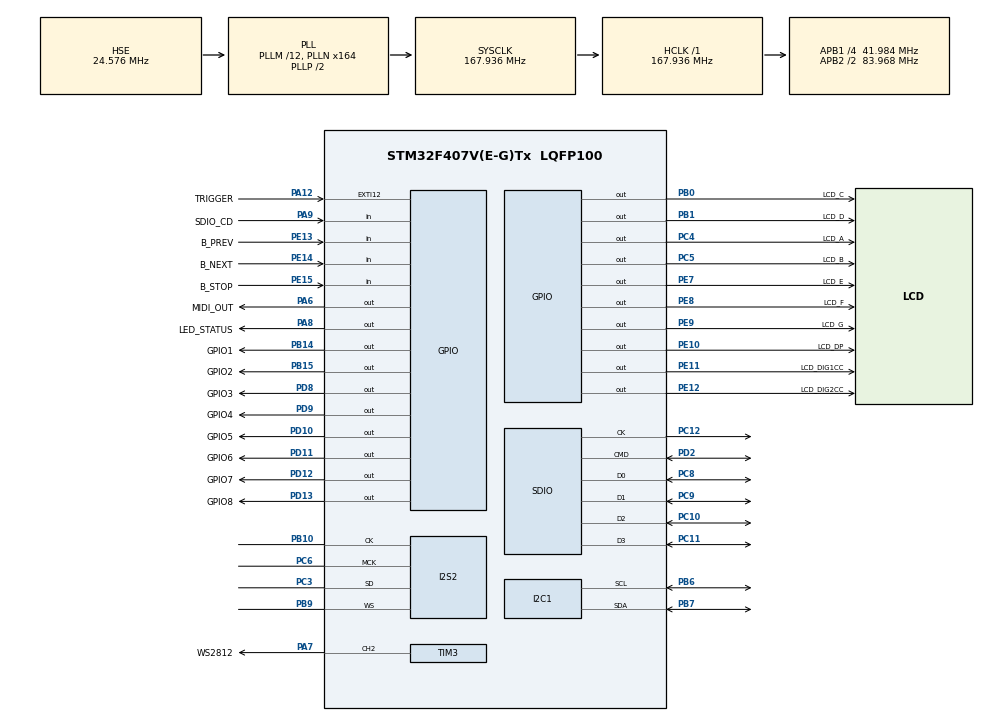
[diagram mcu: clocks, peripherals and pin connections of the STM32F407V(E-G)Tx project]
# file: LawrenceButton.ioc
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Mcu.Family=STM32F4
PC3.Mode=Half_Duplex_Master
PD12.GPIO_Label=GPIO7
Dma.SPI2_TX.0.MemInc=DMA_MINC_ENABLE
PH0-OSC_IN.Signal=RCC_OSC_IN
RCC.CortexFreq_Value=167936000
FATFS0.BSP.api=Unknown
PB10.Mode=Half_Duplex_Master
VP_FATFS_VS_SDIO.Mode=SDIO
Dma.TIM3_CH2.1.Mode=DMA_CIRCULAR
PE11.GPIO_Label=LCD_DIG1CC
PC10.Signal=SDIO_D2
PC12.Signal=SDIO_CK
PB14.GPIO_Label=GPIO1
Dma.TIM3_CH2.1.MemDataAlignment=DMA_MDATAALIGN_WORD
PB0.GPIO_Label=LCD_C
PA6.GPIO_Label=MIDI_OUT
NVIC.DMA1_Stream4_IRQn=true\:1\:0\:true\:false\:true\:false\:true
PB15.Signal=GPIO_Output
Dma.SPI2_TX.0.Instance=DMA1_Stream4
RCC.SYSCLKSource=RCC_SYSCLKSOURCE_PLLCLK
ProjectManager.StackSize=0x400
Dma.SPI2_TX.0.MemDataAlignment=DMA_MDATAALIGN_HALFWORD
Dma.TIM3_CH2.1.PeriphInc=DMA_PINC_DISABLE
PD13.Signal=GPIO_Output
PA12.Signal=GPXTI12
Dma.TIM3_CH2.1.Priority=DMA_PRIORITY_LOW
PD11.GPIO_Label=GPIO6
RCC.HCLKFreq_Value=167936000
RCC.APB2TimFreq_Value=167936000
TIM3.Period=104
PB6.Signal=I2C1_SCL
Dma.TIM3_CH2.1.PeriphDataAlignment=DMA_PDATAALIGN_WORD
PB6.Mode=I2C
PC3.Signal=I2S2_SD
PD8.Signal=GPIO_Output
Dma.SPI2_TX.0.Mode=DMA_CIRCULAR
RCC.AHBFreq_Value=167936000
PH0-OSC_IN.Mode=HSE-External-Oscillator
FATFS0.BSP.ip=GPIO
NVIC.EXTI15_10_IRQn=true\:1\:0\:true\:false\:true\:true\:true
RCC.HSE_VALUE=24576000
PB3.Mode=Trace_Asynchronous_SW
FATFS0.BSP.i2caddr=0
PE13.GPIO_PuPd=GPIO_PULLUP
PE13.Signal=GPIO_Input
Dma.TIM3_CH2.1.MemInc=DMA_MINC_ENABLE
PC4.GPIO_Label=LCD_A
PE9.Signal=GPIO_Output
PA14.Mode=Trace_Asynchronous_SW
TIM3.Prescaler=0
PB1.GPIO_Label=LCD_D
NVIC.TIM2_IRQn=true\:1\:0\:true\:false\:true\:true\:true
PC9.Mode=SD_4_bits_Wide_bus
PB7.Signal=I2C1_SDA
PA8.Signal=GPIO_Output
I2S2.DataFormat=I2S_DATAFORMAT_16B
TIM4.Period=41983
PE10.Signal=GPIO_Output
TIM3.OCPolarity_2=TIM_OCPOLARITY_LOW
PH1-OSC_OUT.Mode=HSE-External-Oscillator
PD13.GPIO_Label=GPIO8
Mcu.Package=LQFP100
PB9.Signal=I2S2_WS
TIM2.Prescaler=0
PB1.Signal=GPIO_Output
PA6.Signal=GPIO_Output
PD12.Signal=GPIO_Output
FATFS0.BSP.solution=PA9
Dma.TIM3_CH2.1.FIFOMode=DMA_FIFOMODE_DISABLE
PE12.GPIO_Label=LCD_DIG2CC
PC11.Mode=SD_4_bits_Wide_bus
Dma.TIM3_CH2.1.Instance=DMA1_Stream5
Dma.SPI2_TX.0.PeriphInc=DMA_PINC_DISABLE
FATFS._FS_LOCK=0
RCC.APB2CLKDivider=RCC_HCLK_DIV2
Dma.Request1=TIM3_CH2
RCC.APB1TimFreq_Value=83968000
PC5.Signal=GPIO_Output
PE7.Signal=GPIO_Output
PA12.GPIO_PuPd=GPIO_PULLUP
PE10.GPIO_Label=LCD_DP
Dma.Request0=SPI2_TX
VP_TIM3_VS_ClockSourceINT.Mode=Internal
RCC.PLLSourceVirtual=RCC_PLLSOURCE_HSE
FATFS0.BSP.STBoard=false
I2S2.AudioFreq=I2S_AUDIOFREQ_48K
I2S2.Instance=SPI$Index
PD9.GPIO_Label=GPIO4
TIM3.AutoReloadPreload=TIM_AUTORELOAD_PRELOAD_ENABLE
PC11.Signal=SDIO_D3
PA9.GPIO_Label=SDIO_CD
FATFS0.BSP.mode=Input
PC8.Signal=SDIO_D0
Dma.TIM3_CH2.1.Direction=DMA_MEMORY_TO_PERIPH
PC4.Signal=GPIO_Output
PC6.Signal=I2S2_MCK
PC10.Mode=SD_4_bits_Wide_bus
PE14.GPIO_Label=B_NEXT
PD9.Signal=GPIO_Output
RCC.APB1CLKDivider=RCC_HCLK_DIV4
PA12.GPIO_Label=TRIGGER
PD8.GPIO_Label=GPIO3
SDIO.ClockBypass=SDIO_CLOCK_BYPASS_DISABLE
FATFS0.BSP.instance=PA9
PD10.Signal=GPIO_Output
PA13.Signal=SYS_JTMS-SWDIO
PA8.GPIO_Label=LED_STATUS
PE15.GPIO_Label=B_STOP
ProjectManager.TargetToolchain=STM32CubeIDE
NVIC.DMA1_Stream5_IRQn=true\:1\:0\:true\:false\:true\:false\:true
PC6.Mode=Master_Clock_Activated
PE8.GPIO_Label=LCD_F
PB9.Mode=Half_Duplex_Master
PA9.Signal=GPIO_Input
I2S2.VirtualMode=I2S_MODE_MASTER
SDIO.ClockDiv=4
PD10.GPIO_Label=GPIO5
TIM4.Prescaler=79
PE11.Signal=GPIO_Output
RCC.LSE_VALUE=32768
PE9.GPIO_Label=LCD_G
PA7.GPIO_PuPd=GPIO_PULLDOWN
PB10.Signal=I2S2_CK
PB14.Signal=GPIO_Output
PD2.Mode=SD_4_bits_Wide_bus
FATFS.BSP.number=1
SH.S_TIM3_CH2.0=TIM3_CH2,PWM Generation2 CH2
PC12.Mode=SD_4_bits_Wide_bus
board=custom
RCC.VCOOutputFreq_Value=335872000
PA7.GPIO_Speed=GPIO_SPEED_FREQ_HIGH
RCC.APB2Freq_Value=83968000
PE14.Signal=GPIO_Input
PE15.Signal=GPIO_Input
PB15.GPIO_Label=GPIO2
VP_TIM2_VS_ClockSourceINT.Mode=Internal
PE8.Signal=GPIO_Output
Dma.SPI2_TX.0.PeriphDataAlignment=DMA_PDATAALIGN_HALFWORD
PH1-OSC_OUT.Signal=RCC_OSC_OUT
PE14.GPIO_PuPd=GPIO_PULLUP
TIM2.Period=83968
PA13.Mode=Trace_Asynchronous_SW
Mcu.Name=STM32F407V(E-G)Tx
PE7.GPIO_Label=LCD_E
Dma.SPI2_TX.0.FIFOMode=DMA_FIFOMODE_DISABLE
PE12.Signal=GPIO_Output
I2S2.FullDuplexMode=I2S_FULLDUPLEXMODE_DISABLE
PC8.Mode=SD_4_bits_Wide_bus
RCC.48MHZClocksFreq_Value=47981714.28571428
PB3.Signal=SYS_JTDO-SWO
Dma.SPI2_TX.0.Priority=DMA_PRIORITY_VERY_HIGH
RCC.SYSCLKFreq_VALUE=167936000
PA7.GPIO_Label=WS2812
PE13.GPIO_Label=B_PREV
I2S2.ErrorAudioFreq=0.0 %
PC5.GPIO_Label=LCD_B
PD11.Signal=GPIO_Output
PB7.Mode=I2C
PA14.Signal=SYS_JTCK-SWCLK
PE15.GPIO_PuPd=GPIO_PULLUP
ProjectManager.HeapSize=0x200
RCC.HSI_VALUE=16000000
VP_TIM4_VS_ClockSourceINT.Mode=Internal
RCC.PLLQ=7
NVIC.PriorityGroup=NVIC_PRIORITYGROUP_4
TIM3.Channel-PWM\ Generation2\ CH2=TIM_CHANNEL_2
RCC.PLLM=12
RCC.PLLN=164
PC9.Signal=SDIO_D1
PD2.Signal=SDIO_CMD
Dma.SPI2_TX.0.Direction=DMA_MEMORY_TO_PERIPH
NVIC.TIM4_IRQn=true\:1\:0\:true\:false\:true\:true\:true
RCC.APB1Freq_Value=41984000
RCC.PLLI2SR=5
PB0.Signal=GPIO_Output
I2S2.RealAudioFreq=48.0 KHz
RCC.PLLI2SN=120
FATFS0.BSP.name=Detect_SDIO
PB0.GPIO_PuPd=GPIO_NOPULL
TIM3.OCMode_PWM-PWM\ Generation2\ CH2=TIM_OCMODE_PWM2
PA7.Signal=S_TIM3_CH2

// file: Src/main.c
/* USER CODE BEGIN Header */
/**
  ******************************************************************************
  * @file           : main.c
  * @brief          : Main program body
  ******************************************************************************
  *
  * Main code for Lawrence's "big button" - low-latency sample playback with
  * WS2812b flex LED panel light.
  *
  * Contact Max Hunter for queries or hardware!
  *
  ******************************************************************************
  */
/* USER CODE END Header */

#include "main.h"
#include "fatfs.h"

/* USER CODE BEGIN Includes */
#include "string.h"
#include "stdio.h"

/* USER CODE END Includes */

/* USER CODE BEGIN PTD */

typedef struct GPIOPin_TypeDef
{
	GPIO_TypeDef *port;
	uint16_t *pin;
} GPIOPin_TypeDef;

/* USER CODE END PTD */

/* USER CODE BEGIN PD */

#define LED_NUM_PIXELS 256

#define AUDIO_BUFFER_SIZE 4096
#define LED_COLOUR_BUFFER_SIZE 1024

#define LED_ZERO 28 // HIGH signal of 350ns, then 900ns LOW
#define LED_ONE 76  // HIGH signal of 950ns, then 300ns LOW

#define LED_BYTES (LED_NUM_PIXELS * 8 * 3)
#define LED_NULL_BYTES 500
#define LED_FRAMEBUFFER_SIZE (LED_BYTES + LED_NULL_BYTES)

/* USER CODE END PD */

/* USER CODE BEGIN PM */

#define GRB_WORD(R, G, B) (((G) << 16) | ((R) << 8) | (B))

/* USER CODE END PM */

I2C_HandleTypeDef hi2c1;

I2S_HandleTypeDef hi2s2;
DMA_HandleTypeDef hdma_spi2_tx;

SD_HandleTypeDef hsd;

TIM_HandleTypeDef htim2;
TIM_HandleTypeDef htim3;
TIM_HandleTypeDef htim4;
DMA_HandleTypeDef hdma_tim3_ch2;

/* USER CODE BEGIN PV */

static GPIOPin_TypeDef LCDs[7] = {
	{LCD_A_GPIO_Port, LCD_A_Pin},
	{LCD_B_GPIO_Port, LCD_B_Pin},
	{LCD_C_GPIO_Port, LCD_C_Pin},
	{LCD_D_GPIO_Port, LCD_D_Pin},
	{LCD_E_GPIO_Port, LCD_E_Pin},
	{LCD_F_GPIO_Port, LCD_F_Pin},
	{LCD_G_GPIO_Port, LCD_G_Pin},
};

const uint8_t b7SegmentTable[11] = {
0x3F, /*0*/
0x06, /*1*/
0x5B, /*2*/
0x4F, /*3*/
0x66, /*4*/
0x6D, /*5*/
0x7D, /*6*/
0x07, /*7*/
0x7F, /*8*/
0x6F, /*9*/
0x79  /*E (error)*/
};

const uint16_t Debounce_ms[4] = {80, 200, 200, 200}; // TRIGGER, PREV, NEXT, STOP debounce in ms
uint16_t Debounce_current[4] = {0};

/* Ping-Pong buffer used for audio play */
uint16_t Audio_DMA_Buffer [AUDIO_BUFFER_SIZE]; // playing now, DMA circular buffer
uint16_t Audio_Next_Buffer [AUDIO_BUFFER_SIZE]; // playing next, precached for minimum latency

uint8_t Track_Max = 99; // maximum track on SD card (<=99)
uint8_t Track_Next = 0; // currently selected track on screen, will play next
char Track_Next_Path[8] = "000.wav";
uint8_t Track_Preloaded = 0; // BOOL is the first chunk of the track preloaded into RAM?
uint8_t Track_Playing = 0; // BOOL is the track playing...

uint32_t LED_Framebuffer	[LED_FRAMEBUFFER_SIZE] = {0};
uint32_t LED_Colour_Buffer	[LED_COLOUR_BUFFER_SIZE] = {0};
uint32_t LED_Current_Frame = 0; // what frame of the file we're on
uint32_t LED_Last_Frame = 0; // number of frames total
char LED_Current_Path[8] = "000.led";

FIL Audio_Current_fil; // currently playing file (streaming now!)
FIL Audio_Next_fil; // next up (to pre-buffer for instant playback)
FIL LED_fil; // current screen track
FATFS fatfs;

FRESULT fr;
FILINFO fi;
UINT br = 0;
uint32_t i = 0;
uint8_t curr_digit = 0;

/* USER CODE END PV */

void SystemClock_Config(void);
static void MX_GPIO_Init(void);
static void MX_DMA_Init(void);
static void MX_I2C1_Init(void);
static void MX_I2S2_Init(void);
static void MX_SDIO_SD_Init(void);
static void MX_TIM3_Init(void);
static void MX_TIM2_Init(void);
static void MX_TIM4_Init(void);
/* USER CODE BEGIN PFP */

void LoadTrack(void);
void PlayTrack(I2S_HandleTypeDef*);
void StopTrack(I2S_HandleTypeDef*);
void UpdateLCD(uint8_t);
void Set_LED_Colour(uint32_t);

/* USER CODE END PFP */

int main(void)
{

  /* MCU Configuration--------------------------------------------------------*/

  /* Reset of all peripherals, Initializes the Flash interface and the Systick. */
  HAL_Init();

  /* Configure the system clock */
  SystemClock_Config();

  /* Initialize all configured peripherals */
  MX_GPIO_Init();
  MX_DMA_Init();
  MX_I2C1_Init();
  MX_I2S2_Init();
  MX_SDIO_SD_Init();
  MX_FATFS_Init();
  MX_TIM3_Init();
  MX_TIM2_Init();
  MX_TIM4_Init();
  /* USER CODE BEGIN 2 */

  // Fill screenbuffer with LOWs
  for (i = 0; i < LED_BYTES; i++)
  {
	  LED_Framebuffer[i] = LED_ZERO;
  }

  // Start circular DMA
  HAL_TIM_PWM_Start_DMA(&htim3, TIM_CHANNEL_2, LED_Framebuffer, sizeof(LED_Framebuffer) / sizeof(uint32_t));

  // Mount SD card
  fr = f_mount(&fatfs, (TCHAR const*)SDPath, 1);

  if (fr != FR_OK)
  {
	  Error_Handler();
  }

  // Find highest file (looking contiguously, no gaps allowed!)
  for (i = 0; i < 100; i++)
  {
	  sprintf(Track_Next_Path, "%03lu.wav", i);
	  fr = f_stat(Track_Next_Path, &fi);
	  if (fr != FR_OK)
	  {
		  if (i == 0) // 000.wav doesn't exist
		  {
			  Error_Handler();
		  }
		  Track_Max = i-1;
		  break;
	  }
  }

  HAL_TIM_Base_Start_IT(&htim2);
  HAL_TIM_Base_Start_IT(&htim4);

  LoadTrack();

  /* USER CODE END 2 */

  /* Infinite loop */
  /* USER CODE BEGIN WHILE */

  while (1)
  {
	  HAL_GPIO_WritePin(GPIOA, LED_STATUS_Pin, GPIO_PIN_SET);
	  HAL_Delay(10);
	  HAL_GPIO_WritePin(GPIOA, LED_STATUS_Pin, GPIO_PIN_RESET);
	  HAL_Delay(500);
  }
    /* USER CODE END WHILE */

}

void SystemClock_Config(void)
{
  RCC_OscInitTypeDef RCC_OscInitStruct = {0};
  RCC_ClkInitTypeDef RCC_ClkInitStruct = {0};
  RCC_PeriphCLKInitTypeDef PeriphClkInitStruct = {0};

  /** Configure the main internal regulator output voltage
  */
  __HAL_RCC_PWR_CLK_ENABLE();
  __HAL_PWR_VOLTAGESCALING_CONFIG(PWR_REGULATOR_VOLTAGE_SCALE1);
  /** Initializes the CPU, AHB and APB busses clocks
  */
  RCC_OscInitStruct.OscillatorType = RCC_OSCILLATORTYPE_HSE;
  RCC_OscInitStruct.HSEState = RCC_HSE_ON;
  RCC_OscInitStruct.PLL.PLLState = RCC_PLL_ON;
  RCC_OscInitStruct.PLL.PLLSource = RCC_PLLSOURCE_HSE;
  RCC_OscInitStruct.PLL.PLLM = 12;
  RCC_OscInitStruct.PLL.PLLN = 164;
  RCC_OscInitStruct.PLL.PLLP = RCC_PLLP_DIV2;
  RCC_OscInitStruct.PLL.PLLQ = 7;
  if (HAL_RCC_OscConfig(&RCC_OscInitStruct) != HAL_OK)
  {
    Error_Handler();
  }
  /** Initializes the CPU, AHB and APB busses clocks
  */
  RCC_ClkInitStruct.ClockType = RCC_CLOCKTYPE_HCLK|RCC_CLOCKTYPE_SYSCLK
                              |RCC_CLOCKTYPE_PCLK1|RCC_CLOCKTYPE_PCLK2;
  RCC_ClkInitStruct.SYSCLKSource = RCC_SYSCLKSOURCE_PLLCLK;
  RCC_ClkInitStruct.AHBCLKDivider = RCC_SYSCLK_DIV1;
  RCC_ClkInitStruct.APB1CLKDivider = RCC_HCLK_DIV4;
  RCC_ClkInitStruct.APB2CLKDivider = RCC_HCLK_DIV2;

  if (HAL_RCC_ClockConfig(&RCC_ClkInitStruct, FLASH_LATENCY_5) != HAL_OK)
  {
    Error_Handler();
  }
  PeriphClkInitStruct.PeriphClockSelection = RCC_PERIPHCLK_I2S;
  PeriphClkInitStruct.PLLI2S.PLLI2SN = 120;
  PeriphClkInitStruct.PLLI2S.PLLI2SR = 5;
  if (HAL_RCCEx_PeriphCLKConfig(&PeriphClkInitStruct) != HAL_OK)
  {
    Error_Handler();
  }
}

static void MX_I2C1_Init(void)
{

  hi2c1.Instance = I2C1;
  hi2c1.Init.ClockSpeed = 100000;
  hi2c1.Init.DutyCycle = I2C_DUTYCYCLE_2;
  hi2c1.Init.OwnAddress1 = 0;
  hi2c1.Init.AddressingMode = I2C_ADDRESSINGMODE_7BIT;
  hi2c1.Init.DualAddressMode = I2C_DUALADDRESS_DISABLE;
  hi2c1.Init.OwnAddress2 = 0;
  hi2c1.Init.GeneralCallMode = I2C_GENERALCALL_DISABLE;
  hi2c1.Init.NoStretchMode = I2C_NOSTRETCH_DISABLE;
  if (HAL_I2C_Init(&hi2c1) != HAL_OK)
  {
    Error_Handler();
  }

}

static void MX_I2S2_Init(void)
{

  hi2s2.Instance = SPI2;
  hi2s2.Init.Mode = I2S_MODE_MASTER_TX;
  hi2s2.Init.Standard = I2S_STANDARD_PHILIPS;
  hi2s2.Init.DataFormat = I2S_DATAFORMAT_16B;
  hi2s2.Init.MCLKOutput = I2S_MCLKOUTPUT_ENABLE;
  hi2s2.Init.AudioFreq = I2S_AUDIOFREQ_48K;
  hi2s2.Init.CPOL = I2S_CPOL_LOW;
  hi2s2.Init.ClockSource = I2S_CLOCK_PLL;
  hi2s2.Init.FullDuplexMode = I2S_FULLDUPLEXMODE_DISABLE;
  if (HAL_I2S_Init(&hi2s2) != HAL_OK)
  {
    Error_Handler();
  }

}

static void MX_SDIO_SD_Init(void)
{

  hsd.Instance = SDIO;
  hsd.Init.ClockEdge = SDIO_CLOCK_EDGE_RISING;
  hsd.Init.ClockBypass = SDIO_CLOCK_BYPASS_DISABLE;
  hsd.Init.ClockPowerSave = SDIO_CLOCK_POWER_SAVE_DISABLE;
  hsd.Init.BusWide = SDIO_BUS_WIDE_1B;
  hsd.Init.HardwareFlowControl = SDIO_HARDWARE_FLOW_CONTROL_DISABLE;
  hsd.Init.ClockDiv = 4;

}

static void MX_TIM2_Init(void)
{

  TIM_ClockConfigTypeDef sClockSourceConfig = {0};
  TIM_MasterConfigTypeDef sMasterConfig = {0};

  htim2.Instance = TIM2;
  htim2.Init.Prescaler = 0;
  htim2.Init.CounterMode = TIM_COUNTERMODE_UP;
  htim2.Init.Period = 83968;
  htim2.Init.ClockDivision = TIM_CLOCKDIVISION_DIV1;
  htim2.Init.AutoReloadPreload = TIM_AUTORELOAD_PRELOAD_DISABLE;
  if (HAL_TIM_Base_Init(&htim2) != HAL_OK)
  {
    Error_Handler();
  }
  sClockSourceConfig.ClockSource = TIM_CLOCKSOURCE_INTERNAL;
  if (HAL_TIM_ConfigClockSource(&htim2, &sClockSourceConfig) != HAL_OK)
  {
    Error_Handler();
  }
  sMasterConfig.MasterOutputTrigger = TIM_TRGO_RESET;
  sMasterConfig.MasterSlaveMode = TIM_MASTERSLAVEMODE_DISABLE;
  if (HAL_TIMEx_MasterConfigSynchronization(&htim2, &sMasterConfig) != HAL_OK)
  {
    Error_Handler();
  }

}

static void MX_TIM3_Init(void)
{

  TIM_ClockConfigTypeDef sClockSourceConfig = {0};
  TIM_MasterConfigTypeDef sMasterConfig = {0};
  TIM_OC_InitTypeDef sConfigOC = {0};

  htim3.Instance = TIM3;
  htim3.Init.Prescaler = 0;
  htim3.Init.CounterMode = TIM_COUNTERMODE_UP;
  htim3.Init.Period = 104;
  htim3.Init.ClockDivision = TIM_CLOCKDIVISION_DIV1;
  htim3.Init.AutoReloadPreload = TIM_AUTORELOAD_PRELOAD_ENABLE;
  if (HAL_TIM_Base_Init(&htim3) != HAL_OK)
  {
    Error_Handler();
  }
  sClockSourceConfig.ClockSource = TIM_CLOCKSOURCE_INTERNAL;
  if (HAL_TIM_ConfigClockSource(&htim3, &sClockSourceConfig) != HAL_OK)
  {
    Error_Handler();
  }
  if (HAL_TIM_PWM_Init(&htim3) != HAL_OK)
  {
    Error_Handler();
  }
  sMasterConfig.MasterOutputTrigger = TIM_TRGO_RESET;
  sMasterConfig.MasterSlaveMode = TIM_MASTERSLAVEMODE_DISABLE;
  if (HAL_TIMEx_MasterConfigSynchronization(&htim3, &sMasterConfig) != HAL_OK)
  {
    Error_Handler();
  }
  sConfigOC.OCMode = TIM_OCMODE_PWM2;
  sConfigOC.Pulse = 0;
  sConfigOC.OCPolarity = TIM_OCPOLARITY_LOW;
  sConfigOC.OCFastMode = TIM_OCFAST_DISABLE;
  if (HAL_TIM_PWM_ConfigChannel(&htim3, &sConfigOC, TIM_CHANNEL_2) != HAL_OK)
  {
    Error_Handler();
  }
  HAL_TIM_MspPostInit(&htim3);

}

static void MX_TIM4_Init(void)
{

  TIM_ClockConfigTypeDef sClockSourceConfig = {0};
  TIM_MasterConfigTypeDef sMasterConfig = {0};

  htim4.Instance = TIM4;
  htim4.Init.Prescaler = 79;
  htim4.Init.CounterMode = TIM_COUNTERMODE_UP;
  htim4.Init.Period = 41983;
  htim4.Init.ClockDivision = TIM_CLOCKDIVISION_DIV1;
  htim4.Init.AutoReloadPreload = TIM_AUTORELOAD_PRELOAD_DISABLE;
  if (HAL_TIM_Base_Init(&htim4) != HAL_OK)
  {
    Error_Handler();
  }
  sClockSourceConfig.ClockSource = TIM_CLOCKSOURCE_INTERNAL;
  if (HAL_TIM_ConfigClockSource(&htim4, &sClockSourceConfig) != HAL_OK)
  {
    Error_Handler();
  }
  sMasterConfig.MasterOutputTrigger = TIM_TRGO_RESET;
  sMasterConfig.MasterSlaveMode = TIM_MASTERSLAVEMODE_DISABLE;
  if (HAL_TIMEx_MasterConfigSynchronization(&htim4, &sMasterConfig) != HAL_OK)
  {
    Error_Handler();
  }

}

static void MX_DMA_Init(void)
{

  /* DMA controller clock enable */
  __HAL_RCC_DMA1_CLK_ENABLE();

  /* DMA interrupt init */
  /* DMA1_Stream4_IRQn interrupt configuration */
  HAL_NVIC_SetPriority(DMA1_Stream4_IRQn, 1, 0);
  HAL_NVIC_EnableIRQ(DMA1_Stream4_IRQn);
  /* DMA1_Stream5_IRQn interrupt configuration */
  HAL_NVIC_SetPriority(DMA1_Stream5_IRQn, 1, 0);
  HAL_NVIC_EnableIRQ(DMA1_Stream5_IRQn);

}

static void MX_GPIO_Init(void)
{
  GPIO_InitTypeDef GPIO_InitStruct = {0};

  /* GPIO Ports Clock Enable */
  __HAL_RCC_GPIOH_CLK_ENABLE();
  __HAL_RCC_GPIOC_CLK_ENABLE();
  __HAL_RCC_GPIOA_CLK_ENABLE();
  __HAL_RCC_GPIOB_CLK_ENABLE();
  __HAL_RCC_GPIOE_CLK_ENABLE();
  __HAL_RCC_GPIOD_CLK_ENABLE();

  /*Configure GPIO pin Output Level */
  HAL_GPIO_WritePin(GPIOA, MIDI_OUT_Pin|LED_STATUS_Pin, GPIO_PIN_RESET);

  /*Configure GPIO pin Output Level */
  HAL_GPIO_WritePin(GPIOC, LCD_A_Pin|LCD_B_Pin, GPIO_PIN_RESET);

  /*Configure GPIO pin Output Level */
  HAL_GPIO_WritePin(GPIOB, LCD_C_Pin|LCD_D_Pin|GPIO1_Pin|GPIO2_Pin, GPIO_PIN_RESET);

  /*Configure GPIO pin Output Level */
  HAL_GPIO_WritePin(GPIOE, LCD_E_Pin|LCD_F_Pin|LCD_G_Pin|LCD_DP_Pin
                          |LCD_DIG1CC_Pin|LCD_DIG2CC_Pin, GPIO_PIN_RESET);

  /*Configure GPIO pin Output Level */
  HAL_GPIO_WritePin(GPIOD, GPIO3_Pin|GPIO4_Pin|GPIO5_Pin|GPIO6_Pin
                          |GPIO7_Pin|GPIO8_Pin, GPIO_PIN_RESET);

  /*Configure GPIO pins : MIDI_OUT_Pin LED_STATUS_Pin */
  GPIO_InitStruct.Pin = MIDI_OUT_Pin|LED_STATUS_Pin;
  GPIO_InitStruct.Mode = GPIO_MODE_OUTPUT_PP;
  GPIO_InitStruct.Pull = GPIO_NOPULL;
  GPIO_InitStruct.Speed = GPIO_SPEED_FREQ_LOW;
  HAL_GPIO_Init(GPIOA, &GPIO_InitStruct);

  /*Configure GPIO pins : LCD_A_Pin LCD_B_Pin */
  GPIO_InitStruct.Pin = LCD_A_Pin|LCD_B_Pin;
  GPIO_InitStruct.Mode = GPIO_MODE_OUTPUT_PP;
  GPIO_InitStruct.Pull = GPIO_NOPULL;
  GPIO_InitStruct.Speed = GPIO_SPEED_FREQ_LOW;
  HAL_GPIO_Init(GPIOC, &GPIO_InitStruct);

  /*Configure GPIO pins : LCD_C_Pin LCD_D_Pin GPIO1_Pin GPIO2_Pin */
  GPIO_InitStruct.Pin = LCD_C_Pin|LCD_D_Pin|GPIO1_Pin|GPIO2_Pin;
  GPIO_InitStruct.Mode = GPIO_MODE_OUTPUT_PP;
  GPIO_InitStruct.Pull = GPIO_NOPULL;
  GPIO_InitStruct.Speed = GPIO_SPEED_FREQ_LOW;
  HAL_GPIO_Init(GPIOB, &GPIO_InitStruct);

  /*Configure GPIO pins : LCD_E_Pin LCD_F_Pin LCD_G_Pin LCD_DP_Pin
                           LCD_DIG1CC_Pin LCD_DIG2CC_Pin */
  GPIO_InitStruct.Pin = LCD_E_Pin|LCD_F_Pin|LCD_G_Pin|LCD_DP_Pin
                          |LCD_DIG1CC_Pin|LCD_DIG2CC_Pin;
  GPIO_InitStruct.Mode = GPIO_MODE_OUTPUT_PP;
  GPIO_InitStruct.Pull = GPIO_NOPULL;
  GPIO_InitStruct.Speed = GPIO_SPEED_FREQ_LOW;
  HAL_GPIO_Init(GPIOE, &GPIO_InitStruct);

  /*Configure GPIO pins : B_PREV_Pin B_NEXT_Pin B_STOP_Pin */
  GPIO_InitStruct.Pin = B_PREV_Pin|B_NEXT_Pin|B_STOP_Pin;
  GPIO_InitStruct.Mode = GPIO_MODE_INPUT;
  GPIO_InitStruct.Pull = GPIO_PULLUP;
  HAL_GPIO_Init(GPIOE, &GPIO_InitStruct);

  /*Configure GPIO pins : GPIO3_Pin GPIO4_Pin GPIO5_Pin GPIO6_Pin
                           GPIO7_Pin GPIO8_Pin */
  GPIO_InitStruct.Pin = GPIO3_Pin|GPIO4_Pin|GPIO5_Pin|GPIO6_Pin
                          |GPIO7_Pin|GPIO8_Pin;
  GPIO_InitStruct.Mode = GPIO_MODE_OUTPUT_PP;
  GPIO_InitStruct.Pull = GPIO_NOPULL;
  GPIO_InitStruct.Speed = GPIO_SPEED_FREQ_LOW;
  HAL_GPIO_Init(GPIOD, &GPIO_InitStruct);

  /*Configure GPIO pin : SDIO_CD_Pin */
  GPIO_InitStruct.Pin = SDIO_CD_Pin;
  GPIO_InitStruct.Mode = GPIO_MODE_INPUT;
  GPIO_InitStruct.Pull = GPIO_NOPULL;
  HAL_GPIO_Init(SDIO_CD_GPIO_Port, &GPIO_InitStruct);

  /*Configure GPIO pin : TRIGGER_Pin */
  GPIO_InitStruct.Pin = TRIGGER_Pin;
  GPIO_InitStruct.Mode = GPIO_MODE_IT_RISING;
  GPIO_InitStruct.Pull = GPIO_PULLUP;
  HAL_GPIO_Init(TRIGGER_GPIO_Port, &GPIO_InitStruct);

  /* EXTI interrupt init*/
  HAL_NVIC_SetPriority(EXTI15_10_IRQn, 1, 0);
  HAL_NVIC_EnableIRQ(EXTI15_10_IRQn);

}

/* USER CODE BEGIN 4 */

void HAL_GPIO_EXTI_Callback(uint16_t GPIO_Pin)
{
	if (GPIO_Pin == TRIGGER_Pin)
	{
		if (Debounce_current[0] == 0)
		{
			Debounce_current[0] = Debounce_ms[0];

			if (Track_Playing)
			{
			  StopTrack(&hi2s2);
			}

			PlayTrack(&hi2s2);
		}
	}
}

void HAL_TIM_PeriodElapsedCallback(TIM_HandleTypeDef* htim)
// Main loop. 2 timers - TIM2 every 1ms (main switch detection loop) and TIM4 every 40ms (display)
{
	  if (htim == &htim2) // every 1ms
	  {
		  // MAIN TRIGGER
		  if (Debounce_current[0] != 0)
		  {
			  Debounce_current[0]--;
		  }

		  // PREV button
		  if (Debounce_current[1] == 0)
		  {
			  if (HAL_GPIO_ReadPin(B_PREV_GPIO_Port, B_PREV_Pin) == GPIO_PIN_RESET)
			  {
				  Debounce_current[1] = Debounce_ms[1];

				  if (Track_Next != 0)
				  {
					  Track_Next--;
					  Track_Preloaded = 0;
				  }
				  LoadTrack();
			  }
		  }
		  else
		  {
			  Debounce_current[1]--;
		  }

		  // NEXT button
		  if (Debounce_current[2] == 0)
		  {
			  if (HAL_GPIO_ReadPin(B_NEXT_GPIO_Port, B_NEXT_Pin) == GPIO_PIN_RESET)
			  {
				  Debounce_current[2] = Debounce_ms[2];

				  if (Track_Next < Track_Max)
				  {
					  Track_Next++;
					  Track_Preloaded = 0;
				  }
				  LoadTrack();
			  }
		  }
		  else
		  {
			  Debounce_current[2]--;
		  }

		  // STOP button
		  if (Debounce_current[3] == 0)
		  {
			  if (HAL_GPIO_ReadPin(B_STOP_GPIO_Port, B_STOP_Pin) == GPIO_PIN_RESET)
			  {
				  Debounce_current[3] = Debounce_ms[3];

				  StopTrack(&hi2s2);
			  }
		  }
		  else
		  {
			  Debounce_current[3]--;
		  }

		  UpdateLCD(curr_digit);
		  curr_digit = 1 - curr_digit;
	  }

	  else if (htim == &htim4) // every 40ms, 25fps
	  {
		  if (Track_Playing)
		  {
			  if(LED_Current_Frame < LED_COLOUR_BUFFER_SIZE)
			  {
				  Set_LED_Colour(LED_Colour_Buffer[LED_Current_Frame]);
				  LED_Current_Frame++;
			  }
		  }
	}

}

void LoadLEDBuffer(void)
{
	// Loads the entire file into LED buffer.

	for(uint32_t i = 0; i < LED_COLOUR_BUFFER_SIZE; i++)
	{
		LED_Colour_Buffer[i] = 0;
	}

	sprintf(LED_Current_Path, "%03d.led", Track_Next);
	fr = f_open(&LED_fil, LED_Current_Path, FA_READ);

	if (fr == FR_OK)
	{
		char linebuffer[8] = "0000000";
		for(uint32_t i = 0; i < LED_COLOUR_BUFFER_SIZE; i++)
		{
			f_gets(linebuffer, 8, &LED_fil);
			if f_eof(&LED_fil)
			{
				f_close(&LED_fil);
				return;
			}
			else
			{
				LED_Colour_Buffer[i] = strtol(linebuffer, '\0', 16);

				// swap RGB to GRB (?!!) for DMA to WS2812
				LED_Colour_Buffer[i] = (LED_Colour_Buffer[i] & 255) // B
						+ ((LED_Colour_Buffer[i] & 0xff00) << 8) // G
						+ ((LED_Colour_Buffer[i] & 0xff0000) >> 8); // R
			}
		}
	}
	f_close(&LED_fil);
}

void StopTrack(I2S_HandleTypeDef *hi2s)
{
	// Stop what's now playing.

	uint8_t data[2];
	data[0] = 0x03;
	data[1] = 255;

	HAL_I2C_Master_Transmit(&hi2c1, 0x98, data, 2, 100); // soft-mute the audio to avoid clicks

    // Wait for playback to fade out before stopping DMA (4ms is -20dB... that should be enough)
    HAL_Delay(4);
    HAL_I2S_DMAStop(hi2s);

    // Unmute!
    data[1] = 0;
	HAL_I2C_Master_Transmit(&hi2c1, 0x98, data, 2, 100);
    Track_Playing = 0;

    // Fill screenbuffer with LOWs
    for (i = 0; i < LED_BYTES; i++)
    {
  	  LED_Framebuffer[i] = LED_ZERO;
    }
}

void LoadTrack(void)
{
	// Loads the track in Track_Next into the Audio_Next_fil
	  fr = f_close(&Audio_Next_fil);

	  sprintf(Track_Next_Path, "%03d.wav", Track_Next);
	  fr = f_open(&Audio_Next_fil, Track_Next_Path, FA_READ);
	  if (fr != FR_OK)
	  {
		  Error_Handler();
	  }

	  f_rewind(&Audio_Next_fil);
	  f_read(&Audio_Next_fil, &Audio_Next_Buffer[0], AUDIO_BUFFER_SIZE*2, &br);
	  Track_Preloaded = 1;
}

void PlayTrack(I2S_HandleTypeDef *hi2s)
{
	// Moves Audio_Next_Buffer into Audio_DMA_Buffer, starts playback
	memcpy(Audio_DMA_Buffer, Audio_Next_Buffer, AUDIO_BUFFER_SIZE*2);
	Audio_Current_fil = Audio_Next_fil;
	HAL_I2S_Transmit_DMA (hi2s, Audio_DMA_Buffer, AUDIO_BUFFER_SIZE);
	LED_Current_Frame = 0;
	LoadLEDBuffer();

	Track_Playing = 1;
}

void HAL_I2S_TxHalfCpltCallback(I2S_HandleTypeDef *hi2s)
{
	// First half finished: refill first half while second half is playing
    f_read(&Audio_Current_fil,
           &Audio_DMA_Buffer[0],
           AUDIO_BUFFER_SIZE,
           &br);

    if(!br)
    {
    	StopTrack(&hi2s2);
    }
}

void HAL_I2S_TxCpltCallback(I2S_HandleTypeDef *hi2s)
{
	// Second half finished: refill second half while first half is playing
    f_read(&Audio_Current_fil,
           &Audio_DMA_Buffer[AUDIO_BUFFER_SIZE/2],
           AUDIO_BUFFER_SIZE,
           &br);

    if(!br)
    {
    	StopTrack(&hi2s2);
    }
}

void Set_LED_Colour(uint32_t grb_value)
{
	// Set the whole WS2812 string to the same colour, a GRB word.

	for (i = 0; i < 24; i++)
	{
		// Since the LEDs expect MSB-first, we need to do some fiddling to fire
		// that out first.

		uint8_t grb_bit_offset = 23 - i;
		uint8_t grb_bit = (grb_value >> grb_bit_offset) & 1;

		for (uint32_t j = 0; j < LED_BYTES; j += 24)
			{
			if (grb_bit == 1)
			{
				LED_Framebuffer[i+j] = LED_ONE;
			}
			else
			{
				LED_Framebuffer[i+j] = LED_ZERO;
			}
		}
	}
}

void UpdateLCD(uint8_t Display_Number)
{
	// Calculate pinout for LCD and set pins. Flip-flop between multiple LCD quickly enough to avoid flicker.

	uint8_t digit = Track_Next;
	if (Display_Number == 1)
	{
		digit %= 10;
		HAL_GPIO_WritePin(LCD_DIG1CC_GPIO_Port, LCD_DIG1CC_Pin, GPIO_PIN_RESET);
		HAL_GPIO_WritePin(LCD_DIG2CC_GPIO_Port, LCD_DIG2CC_Pin, GPIO_PIN_SET);
		HAL_GPIO_WritePin(LCD_DP_GPIO_Port, LCD_DP_Pin, Track_Playing);
	}
	else
	{
		digit /= 10;
		HAL_GPIO_WritePin(LCD_DIG1CC_GPIO_Port, LCD_DIG1CC_Pin, GPIO_PIN_SET);
		HAL_GPIO_WritePin(LCD_DIG2CC_GPIO_Port, LCD_DIG2CC_Pin, GPIO_PIN_RESET);
		HAL_GPIO_WritePin(LCD_DP_GPIO_Port, LCD_DP_Pin, GPIO_PIN_RESET);
	}

	for (uint8_t i = 0; i < 8; i++)
	{
		uint8_t truth = (b7SegmentTable[digit] >> i) & 1;
		HAL_GPIO_WritePin(LCDs[i].port, LCDs[i].pin, truth);
	}

}
/* USER CODE END 4 */

void Error_Handler(void)
{
	/* USER CODE BEGIN Error_Handler_Debug */
	/* User can add his own implementation to report the HAL error return state */
	HAL_GPIO_WritePin(GPIOA, LED_STATUS_Pin, GPIO_PIN_SET);
	HAL_GPIO_WritePin(LCD_DIG1CC_GPIO_Port, LCD_DIG1CC_Pin, GPIO_PIN_SET);
	HAL_GPIO_WritePin(LCD_DIG2CC_GPIO_Port, LCD_DIG2CC_Pin, GPIO_PIN_SET);

	for (uint8_t i = 0; i < 8; i++)
	{
		uint8_t truth = (b7SegmentTable[10] >> i) & 1;
		HAL_GPIO_WritePin(LCDs[i].port, LCDs[i].pin, truth);
	}
  while (1) {}
  /* USER CODE END Error_Handler_Debug */
}

/************************ (C) COPYRIGHT STMicroelectronics *****END OF FILE****/
